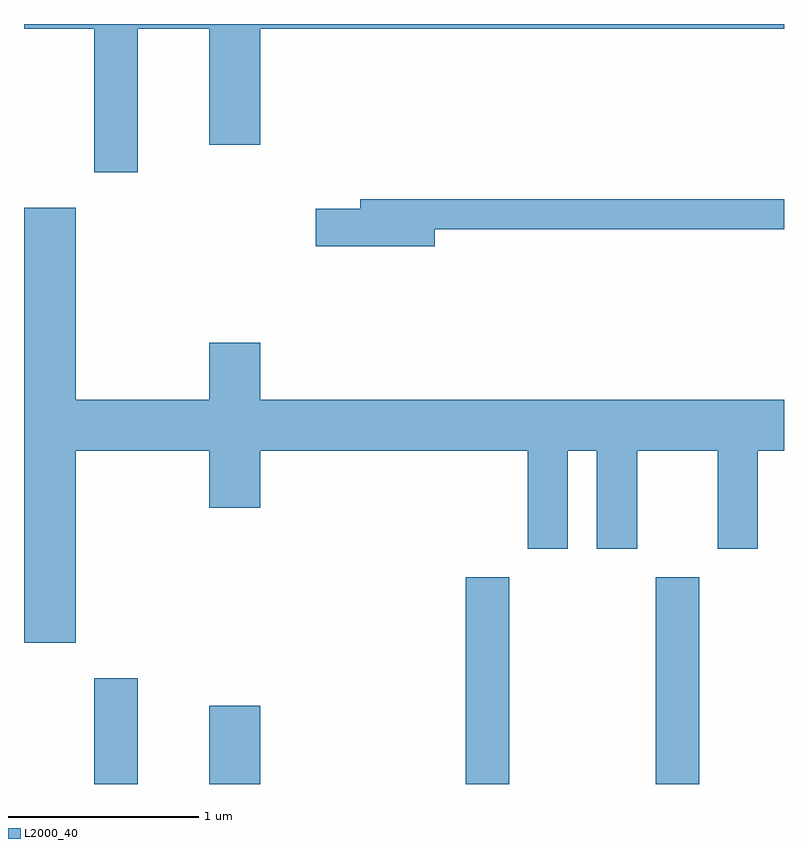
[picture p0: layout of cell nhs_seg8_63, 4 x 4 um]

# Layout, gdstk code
import gdstk
lib = gdstk.Library(unit=1e-6, precision=1e-09)
def R(c, l, rs):  # rectangles x0, y0, x1, y1
    for r in rs: c.add(gdstk.rectangle(r[:2], r[2:], *l))
def P(c, l, *ps):  # polygons
    for p in ps: c.add(gdstk.Polygon(p, *l))
L2000_40 = (2000, 40)

nhs_seg8_63 = lib.new_cell('nhs_seg8_63')
R(nhs_seg8_63, L2000_40, [(185.981,1932.342,186.209,1932.899), (186.586,1932.342,186.854,1932.754), (187.936,1932.342,188.164,1933.429), (188.936,1932.342,189.164,1933.429)])
P(nhs_seg8_63, L2000_40, [(186.209,1936.316),(186.586,1936.316),(186.586,1935.706),(186.854,1935.706),(186.854,1936.316),(189.611,1936.316),(189.611,1936.342),(185.611,1936.342),(185.611,1936.316),(185.981,1936.316),(185.981,1935.561),(186.209,1935.561)],
  [(187.774,1935.261),(189.611,1935.261),(189.611,1935.419),(187.381,1935.419),(187.381,1935.369),(187.146,1935.369),(187.146,1935.171),(187.774,1935.171)],
  [(185.884,1934.096),(186.586,1934.096),(186.586,1933.796),(186.854,1933.796),(186.854,1934.096),(188.261,1934.096),(188.261,1933.581),(188.474,1933.581),(188.474,1934.096),(188.626,1934.096),(188.626,1933.581),(188.839,1933.581),(188.839,1934.096),(189.261,1934.096),(189.261,1933.581),(189.474,1933.581),(189.474,1934.096),(189.611,1934.096),(189.611,1934.364),(186.854,1934.364),(186.854,1934.664),(186.586,1934.664),(186.586,1934.364),(185.884,1934.364),(185.884,1935.374),(185.611,1935.374),(185.611,1933.086),(185.884,1933.086)])

lib.write_gds('nhs_seg8_63.gds')
